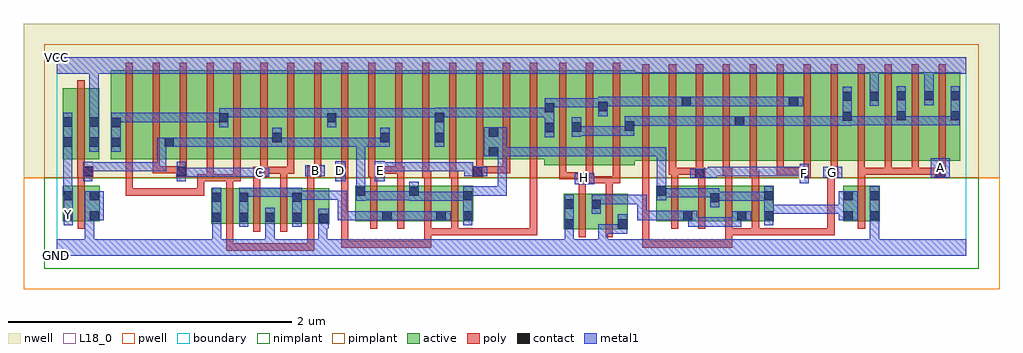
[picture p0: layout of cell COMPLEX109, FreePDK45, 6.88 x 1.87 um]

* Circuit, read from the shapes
.subckt COMPLEX109 A B C D E F G GND H VCC Y
M1 GND n1 Y VSUBS nfet w=0.25u l=0.05u
M2 n2 B GND VSUBS nfet w=0.25u l=0.05u m=2
M3 GND C n2 VSUBS nfet w=0.25u l=0.05u m=2
M4 n2 E n1 VSUBS nfet w=0.25u l=0.05u m=2
M5 n2 D n1 VSUBS nfet w=0.25u l=0.05u m=2
M6 n3 H GND VSUBS nfet w=0.25u l=0.05u m=2
M7 n3 F n1 VSUBS nfet w=0.25u l=0.05u m=2
M8 n3 G n1 VSUBS nfet w=0.25u l=0.05u m=2
M9 GND A n1 VSUBS nfet w=0.25u l=0.05u
M10 VCC n1 Y n4 pfet w=0.5u l=0.05u
M11 n5 B n6 n4 pfet w=0.625u l=0.05u
M12 n1 C n5 n4 pfet w=0.625u l=0.05u
M13 n7 C n1 n4 pfet w=0.625u l=0.05u
M14 n6 B n7 n4 pfet w=0.625u l=0.05u
M15 n8 B n6 n4 pfet w=0.625u l=0.05u
M16 n1 C n8 n4 pfet w=0.625u l=0.05u
M17 n9 C n1 n4 pfet w=0.625u l=0.05u
M18 n6 B n9 n4 pfet w=0.625u l=0.05u
M19 n10 D n6 n4 pfet w=0.625u l=0.05u
M20 n1 E n10 n4 pfet w=0.625u l=0.05u
M21 n11 E n1 n4 pfet w=0.625u l=0.05u
M22 n6 D n11 n4 pfet w=0.625u l=0.05u
M23 n12 D n6 n4 pfet w=0.625u l=0.05u
M24 n1 E n12 n4 pfet w=0.625u l=0.05u
M25 n13 E n1 n4 pfet w=0.625u l=0.05u
M26 n6 D n13 n4 pfet w=0.625u l=0.05u
M27 n14 H n6 n4 pfet w=0.667u l=0.05u m=3
M28 n15 G n14 n4 pfet w=0.625u l=0.05u
M29 n6 F n15 n4 pfet w=0.625u l=0.05u
M30 n16 F n6 n4 pfet w=0.625u l=0.05u
M31 n14 G n16 n4 pfet w=0.625u l=0.05u
M32 n17 G n14 n4 pfet w=0.625u l=0.05u
M33 n6 F n17 n4 pfet w=0.625u l=0.05u
M34 n18 F n6 n4 pfet w=0.625u l=0.05u
M35 n14 G n18 n4 pfet w=0.625u l=0.05u
M36 VCC A n14 n4 pfet w=0.625u l=0.05u m=4
.ends

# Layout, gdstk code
import gdstk
lib = gdstk.Library(unit=1e-6, precision=1e-09)
def R(c, l, rs):  # rectangles x0, y0, x1, y1
    for r in rs: c.add(gdstk.rectangle(r[:2], r[2:], *l))
def A(c, l, x, y, w, h, nx, ny, dx, dy):  # array of equal rectangles
    R(c, l, [(x+i*dx, y+j*dy, x+i*dx+w, y+j*dy+h) for i in range(nx) for j in range(ny)])
active = (1, 0)
pwell = (2, 0)
nwell = (3, 0)
nimplant = (4, 0)
pimplant = (5, 0)
poly = (9, 0)
contact = (10, 0)
metal1 = (11, 0)
L18_0 = (18, 0)
boundary = (235, 0)

complex109 = lib.new_cell('COMPLEX109')
A(complex109, active, 2.29, 0.245, 0.265, 0.25, 3, 1, 0.19, 0)
A(complex109, active, 4.41, 0.245, 0.265, 0.25, 3, 1, 0.19, 0)
A(complex109, active, 4.625, 0.67, 0.225, 0.625, 3, 1, 0.38, 0)
A(complex109, active, 5.155, 0.67, 0.075, 0.53, 4, 1, 0.38, 0)
A(complex109, active, 0.755, 0.682, 0.075, 0.388, 3, 1, 0.76, 0)
A(complex109, active, 1.14, 0.682, 0.075, 0.518, 3, 1, 0.76, 0)
R(complex109, active, [(3.575,0.187,3.65,0.437), (3.575,0.187,3.84,0.437), (3.765,0.187,4.025,0.437), (3.95,0.187,4.025,0.437), (3.765,0.215,3.84,0.4), (1.09,0.225,1.165,0.475), (1.09,0.225,1.355,0.475), (1.28,0.225,1.54,0.475), (1.465,0.225,1.73,0.475), (1.465,0.225,1.54,0.467), (1.655,0.225,1.92,0.475), (1.845,0.225,1.92,0.475), (1.28,0.235,1.355,0.475), (1.655,0.235,1.73,0.475), (0.042,0.245,0.117,0.495), (0.042,0.245,0.302,0.495), (0.227,0.245,0.302,0.495), (2.105,0.245,2.18,0.495), (2.105,0.245,2.365,0.495), (2.29,0.245,2.365,0.467), (2.48,0.245,2.555,0.492), (2.67,0.245,2.745,0.387), (2.86,0.245,2.935,0.495), (4.225,0.245,4.3,0.495), (4.225,0.245,4.485,0.495), (4.41,0.245,4.485,0.467), (4.6,0.245,4.675,0.447), (4.79,0.245,4.865,0.387), (4.98,0.245,5.055,0.495), (5.542,0.245,5.617,0.495), (5.542,0.245,5.802,0.495), (5.727,0.245,5.802,0.495), (3.435,0.64,3.7,1.307), (3.625,0.64,3.887,1.307), (3.625,0.64,3.7,1.07), (3.812,0.64,4.075,1.307), (3.812,0.64,3.887,1.2), (4,0.67,4.245,1.295), (4.245,0.67,4.475,1.295), (4.4,0.67,4.625,1.295), (4.775,0.67,5.005,1.295), (4.775,0.67,4.85,1.07), (5.155,0.67,5.385,1.295), (5.535,0.67,5.8,1.295), (5.725,0.67,5.8,1.295), (5.725,0.67,5.99,1.295), (5.915,0.67,6.185,1.295), (6.11,0.67,6.37,1.295), (6.11,0.67,6.185,1.295), (0.04,0.682,0.3,1.182), (0.04,0.682,0.115,1.165), (0.225,0.682,0.3,1.182), (0.38,0.682,0.605,1.307), (0.38,0.682,0.485,1.2), (0.605,0.682,0.83,1.307), (0.755,0.682,0.985,1.307), (0.985,0.682,1.215,1.307), (1.14,0.682,1.365,1.307), (1.365,0.682,1.59,1.307), (1.515,0.682,1.745,1.307), (1.745,0.682,1.975,1.307), (1.9,0.682,2.125,1.307), (2.125,0.682,2.35,1.307), (2.275,0.682,2.505,1.307), (2.505,0.682,2.735,1.307), (2.66,0.682,2.885,1.307), (2.885,0.682,3.115,1.307), (3.04,0.682,3.265,1.307), (3.04,0.682,3.115,1.07), (3.265,0.682,3.51,1.307), (3.435,0.682,3.51,1.2), (4,0.682,4.075,1.07), (4.4,0.682,4.475,1.2)])
R(complex109, pwell, [(-0.235,-0.235,6.645,0.55)])
R(complex109, nwell, [(-0.235,0.55,6.645,1.635)])
R(complex109, nimplant, [(-0.09,-0.09,6.5,0.55)])
R(complex109, pimplant, [(-0.09,0.55,6.5,1.49)])
A(complex109, poly, 1.195, 0.17, 0.05, 0.36, 4, 1, 0.19, 0)
A(complex109, poly, 2.21, 0.19, 0.05, 0.36, 4, 1, 0.19, 0)
A(complex109, poly, 4.33, 0.19, 0.05, 0.36, 4, 1, 0.19, 0)
A(complex109, poly, 5.075, 0.57, 0.05, 0.095, 7, 1, 0.19, 0)
A(complex109, poly, 1.815, 0.582, 0.05, 0.095, 3, 1, 0.19, 0)
A(complex109, poly, 3.54, 0.585, 0.05, 0.777, 3, 1, 0.19, 0)
A(complex109, poly, 4.125, 0.615, 0.05, 0.735, 12, 1, 0.19, 0)
A(complex109, poly, 0.485, 0.627, 0.05, 0.735, 16, 1, 0.19, 0)
R(complex109, poly, [(1.195,0.037,1.245,0.087), (1.195,0.037,1.245,0.087), (1.195,0.037,1.245,0.087), (1.195,0.037,1.245,0.22), (1.195,0.037,1.427,0.087), (1.377,0.037,1.427,0.087), (1.377,0.037,1.427,0.087), (1.377,0.037,1.427,0.087), (1.377,0.037,1.617,0.087), (1.567,0.037,1.617,0.087), (1.567,0.037,1.815,0.087), (1.765,0.037,1.815,0.087), (1.765,0.037,1.815,0.087), (1.765,0.037,1.815,0.087), (1.765,0.037,1.815,0.22), (2.005,0.057,2.055,0.107), (2.005,0.057,2.055,0.107), (2.005,0.057,2.055,0.107), (2.005,0.057,2.055,0.107), (2.005,0.057,2.055,0.107), (2.005,0.057,2.302,0.107), (2.005,0.057,2.055,0.607), (2.252,0.057,2.302,0.107), (2.252,0.057,2.302,0.107), (2.252,0.057,2.302,0.107), (2.252,0.057,2.442,0.107), (2.392,0.057,2.442,0.107), (2.392,0.057,2.442,0.107), (2.392,0.057,2.442,0.107), (2.392,0.057,2.64,0.107), (2.59,0.057,2.64,0.195), (4.125,0.057,4.175,0.107), (4.125,0.057,4.175,0.107), (4.125,0.057,4.175,0.107), (4.125,0.057,4.175,0.107), (4.125,0.057,4.175,0.107), (4.125,0.057,4.175,0.107), (4.125,0.057,4.175,0.107), (4.125,0.057,4.175,0.107), (4.125,0.057,4.175,0.107), (4.125,0.057,4.397,0.107), (4.125,0.057,4.175,0.665), (4.347,0.057,4.397,0.107), (4.347,0.057,4.53,0.107), (4.48,0.057,4.53,0.107), (4.48,0.057,4.53,0.107), (4.48,0.057,4.53,0.107), (4.48,0.057,4.76,0.107), (4.71,0.057,4.76,0.107), (4.71,0.057,4.76,0.107), (4.71,0.057,4.76,0.195), (3.68,0.132,3.73,0.492), (3.87,0.132,3.92,0.492), (2.59,0.145,2.64,0.24), (2.59,0.145,2.64,0.195), (2.59,0.145,2.64,0.195), (2.59,0.145,2.83,0.195), (2.78,0.145,2.83,0.24), (2.78,0.145,2.83,0.195), (2.78,0.145,2.83,0.195), (2.78,0.145,2.83,0.195), (2.78,0.145,2.962,0.195), (2.912,0.145,2.962,0.195), (2.912,0.145,2.962,0.195), (2.912,0.145,2.962,0.195), (2.912,0.145,3.137,0.195), (3.087,0.145,3.137,0.195), (3.087,0.145,3.385,0.195), (3.335,0.145,3.385,0.195), (3.335,0.145,3.385,0.195), (3.335,0.145,3.385,0.195), (3.335,0.145,3.385,0.195), (3.335,0.145,3.385,0.195), (3.335,0.145,3.385,0.195), (3.335,0.145,3.385,0.195), (3.335,0.145,3.385,0.195), (3.335,0.145,3.385,0.195), (3.335,0.145,3.385,0.677), (4.71,0.145,4.76,0.24), (4.71,0.145,4.95,0.195), (4.9,0.145,4.95,0.24), (4.9,0.145,4.95,0.195), (4.9,0.145,4.95,0.195), (4.9,0.145,4.95,0.195), (4.9,0.145,5.082,0.195), (5.032,0.145,5.082,0.195), (5.032,0.145,5.082,0.195), (5.032,0.145,5.082,0.195), (5.032,0.145,5.257,0.195), (5.207,0.145,5.257,0.195), (5.207,0.145,5.257,0.195), (5.207,0.145,5.257,0.195), (5.207,0.145,5.257,0.195), (5.207,0.145,5.257,0.195), (5.207,0.145,5.482,0.195), (5.432,0.145,5.482,0.195), (5.432,0.145,5.482,0.195), (5.432,0.145,5.482,0.195), (5.432,0.145,5.482,0.595), (0.147,0.19,0.197,0.55), (5.647,0.19,5.697,0.55), (0.485,0.425,0.535,0.475), (0.485,0.425,0.535,0.475), (0.485,0.425,0.535,0.475), (0.485,0.425,0.535,0.475), (0.485,0.425,0.535,0.475), (0.485,0.425,0.535,0.475), (0.485,0.425,0.535,0.475), (0.485,0.425,0.757,0.475), (0.485,0.425,0.535,0.677), (0.707,0.425,0.757,0.475), (0.707,0.425,0.757,0.475), (0.707,0.425,0.757,0.475), (0.707,0.425,0.907,0.475), (0.857,0.425,0.907,0.475), (0.857,0.425,0.907,0.475), (0.857,0.425,0.907,0.475), (0.857,0.425,1.04,0.475), (0.99,0.425,1.04,0.475), (0.99,0.425,1.04,0.475), (0.99,0.425,1.04,0.475), (0.99,0.425,1.04,0.575), (3.68,0.442,3.73,0.562), (3.87,0.442,3.92,0.562), (1.195,0.48,1.245,0.575), (1.385,0.48,1.435,0.602), (1.575,0.48,1.625,0.627), (1.765,0.48,1.815,0.607), (0.147,0.5,0.197,0.607), (2.21,0.5,2.26,0.607), (2.4,0.5,2.45,0.63), (2.59,0.5,2.64,0.595), (2.78,0.5,2.83,0.595), (4.33,0.5,4.38,0.62), (4.52,0.5,4.57,0.595), (4.71,0.5,4.76,0.617), (4.9,0.5,4.95,0.595), (5.647,0.5,5.697,0.62), (3.68,0.512,3.78,0.59), (3.73,0.512,3.92,0.562), (3.87,0.512,3.92,0.562), (3.87,0.512,3.92,0.562), (3.87,0.512,3.97,0.562), (3.92,0.512,3.97,0.635), (0.99,0.525,1.105,0.575), (1.055,0.525,1.105,0.575), (1.055,0.525,1.105,0.575), (1.055,0.525,1.245,0.575), (1.055,0.525,1.105,0.677), (1.195,0.525,1.295,0.575), (1.245,0.525,1.295,0.677), (3.54,0.54,3.59,0.635), (3.54,0.54,3.59,0.59), (3.54,0.54,3.73,0.59), (3.68,0.54,3.73,0.59), (3.68,0.54,3.73,0.59), (3.73,0.54,3.78,0.635), (2.575,0.545,2.64,0.595), (2.575,0.545,2.625,0.677), (2.765,0.545,2.83,0.595), (2.765,0.545,2.815,0.677), (4.495,0.545,4.57,0.62), (4.885,0.545,4.935,0.665), (4.885,0.545,4.95,0.595), (5.232,0.545,5.315,0.62), (5.432,0.545,5.482,0.595), (5.432,0.545,5.482,0.595), (5.432,0.545,5.507,0.62), (6.19,0.545,6.265,0.62), (1.385,0.552,1.485,0.627), (0.145,0.557,0.255,0.632), (0.84,0.557,0.915,0.632), (1.765,0.557,1.865,0.632), (1.967,0.557,2.055,0.632), (2.005,0.557,2.055,0.607), (2.005,0.557,2.055,0.607), (2.195,0.557,2.31,0.632), (2.93,0.557,3.005,0.632), (4.695,0.567,4.76,0.617), (4.695,0.567,4.745,0.665), (4.315,0.57,4.365,0.665), (4.315,0.57,4.38,0.62), (4.33,0.57,4.38,0.62), (4.33,0.57,4.38,0.62), (4.33,0.57,4.545,0.62), (4.505,0.57,4.555,0.665), (5.075,0.57,5.125,0.62), (5.075,0.57,5.282,0.62), (5.232,0.57,5.282,0.62), (5.232,0.57,5.282,0.62), (5.645,0.57,5.697,0.62), (5.647,0.57,5.697,0.62), (5.647,0.57,5.697,0.62), (5.647,0.57,5.885,0.62), (5.835,0.57,5.885,0.62), (5.835,0.57,6.075,0.62), (6.025,0.57,6.075,0.62), (6.025,0.57,6.075,0.62), (6.025,0.57,6.075,0.62), (6.025,0.57,6.24,0.62), (6.19,0.57,6.24,0.62), (6.19,0.57,6.24,0.62), (1.435,0.577,1.625,0.627), (1.435,0.577,1.485,0.677), (1.575,0.577,1.625,0.627), (1.575,0.577,1.625,0.627), (1.575,0.577,1.675,0.627), (1.625,0.577,1.675,0.677), (2.26,0.58,2.31,0.63), (2.26,0.58,2.31,0.63), (2.26,0.58,2.435,0.63), (2.385,0.58,2.45,0.63), (2.385,0.58,2.435,0.677), (0.145,0.582,0.195,0.677), (0.675,0.582,0.725,0.677), (0.675,0.582,0.725,0.632), (0.675,0.582,0.725,0.632), (0.675,0.582,0.725,0.632), (0.675,0.582,0.89,0.632), (0.865,0.582,0.915,0.677), (2.955,0.582,3.005,0.677), (2.955,0.582,3.195,0.632), (3.145,0.582,3.195,0.677), (3.145,0.582,3.195,0.632), (3.145,0.582,3.195,0.632), (3.145,0.582,3.195,0.632), (0.145,0.627,0.195,1.237)])
R(complex109, contact, [(3.58,0.192,3.645,0.257), (3.955,0.192,4.02,0.257), (1.85,0.23,1.915,0.295), (1.095,0.24,1.16,0.305), (1.285,0.24,1.35,0.305), (1.47,0.24,1.535,0.305), (1.66,0.24,1.725,0.305), (0.047,0.25,0.112,0.315), (0.232,0.25,0.297,0.315), (2.295,0.25,2.36,0.315), (2.675,0.25,2.74,0.315), (2.865,0.25,2.93,0.315), (4.795,0.25,4.86,0.315), (4.985,0.25,5.05,0.315), (5.547,0.25,5.612,0.315), (5.732,0.25,5.797,0.315), (4.415,0.252,4.48,0.317), (3.77,0.33,3.835,0.395), (3.58,0.332,3.645,0.397), (4.605,0.377,4.67,0.442), (1.095,0.38,1.16,0.445), (1.285,0.38,1.35,0.445), (1.66,0.38,1.725,0.445), (0.047,0.39,0.112,0.455), (0.232,0.39,0.297,0.455), (2.865,0.39,2.93,0.455), (4.985,0.39,5.05,0.455), (5.547,0.39,5.612,0.455), (5.732,0.39,5.797,0.455), (2.11,0.422,2.175,0.487), (2.485,0.422,2.55,0.487), (4.23,0.425,4.295,0.49), (3.687,0.517,3.752,0.582), (4.5,0.55,4.565,0.615), (5.237,0.55,5.302,0.615), (5.437,0.55,5.502,0.615), (6.195,0.55,6.26,0.615), (1.397,0.557,1.462,0.622), (0.185,0.562,0.25,0.627), (0.845,0.562,0.91,0.627), (1.787,0.562,1.852,0.627), (1.972,0.562,2.037,0.627), (2.24,0.562,2.305,0.627), (2.935,0.562,3,0.627), (3.045,0.7,3.11,0.765), (0.385,0.767,0.45,0.832), (0.76,0.767,0.825,0.832), (0.045,0.77,0.11,0.835), (0.23,0.77,0.295,0.835), (1.52,0.802,1.585,0.867), (2.28,0.802,2.345,0.867), (2.665,0.802,2.73,0.867), (3.045,0.84,3.11,0.905), (3.44,0.872,3.505,0.937), (3.63,0.875,3.695,0.94), (4.005,0.882,4.07,0.947), (0.385,0.907,0.45,0.972), (0.045,0.91,0.11,0.975), (0.23,0.91,0.295,0.975), (4.78,0.917,4.845,0.982), (1.145,0.94,1.21,1.005), (1.905,0.94,1.97,1.005), (2.665,0.942,2.73,1.007), (5.54,0.952,5.605,1.017), (5.92,0.955,5.985,1.02), (6.3,0.955,6.365,1.02), (3.44,1.012,3.505,1.077), (3.817,1.02,3.882,1.085), (4.405,1.055,4.47,1.12), (5.16,1.055,5.225,1.12), (5.54,1.092,5.605,1.157), (5.73,1.092,5.795,1.157), (5.92,1.095,5.985,1.16), (6.115,1.095,6.18,1.16), (6.3,1.095,6.365,1.16)])
R(complex109, metal1, [(0,0,6.41,0.115), (0.197,0.05,0.262,0.115), (0.197,0.05,0.262,0.115), (0.197,0.05,0.262,0.115), (0.197,0.05,0.262,0.115), (0.197,0.05,0.262,0.315), (1.095,0.05,1.16,0.115), (1.095,0.05,1.16,0.115), (1.095,0.05,1.16,0.115), (1.095,0.05,1.16,0.115), (1.095,0.05,1.16,0.27), (1.47,0.05,1.535,0.115), (1.47,0.05,1.535,0.115), (1.47,0.05,1.535,0.27), (1.842,0.05,1.907,0.115), (1.842,0.05,1.907,0.115), (1.842,0.05,1.907,0.26), (3.58,0.05,3.645,0.115), (3.58,0.05,3.645,0.115), (3.58,0.05,3.645,0.115), (3.58,0.05,3.645,0.115), (3.58,0.05,3.645,0.222), (3.817,0.05,3.882,0.222), (5.732,0.05,5.797,0.115), (5.732,0.05,5.797,0.115), (5.732,0.05,5.797,0.115), (5.732,0.05,5.797,0.115), (5.732,0.05,5.797,0.28), (3.58,0.157,3.645,0.432), (3.817,0.157,3.882,0.222), (3.817,0.157,3.882,0.222), (3.817,0.157,3.882,0.222), (3.817,0.157,3.882,0.222), (3.817,0.157,3.882,0.222), (3.817,0.157,4.02,0.222), (3.955,0.157,4.02,0.222), (3.955,0.157,4.02,0.222), (3.955,0.157,4.02,0.292), (1.842,0.195,1.907,0.26), (1.842,0.195,1.907,0.26), (1.842,0.195,1.915,0.33), (1.095,0.205,1.16,0.48), (1.285,0.205,1.35,0.48), (1.47,0.205,1.535,0.27), (1.47,0.205,1.535,0.27), (1.47,0.205,1.535,0.34), (1.66,0.205,1.725,0.48), (4.45,0.205,4.67,0.27), (4.45,0.205,4.515,0.317), (4.605,0.205,4.67,0.27), (4.605,0.205,4.825,0.27), (4.76,0.205,4.825,0.315), (0.047,0.215,0.112,0.49), (2.865,0.215,2.93,0.49), (4.985,0.215,5.05,0.49), (5.732,0.215,5.797,0.49), (0.197,0.25,0.332,0.455), (1.98,0.25,2.045,0.315), (1.98,0.25,2.175,0.315), (1.98,0.25,2.045,0.46), (2.11,0.25,2.175,0.315), (2.11,0.25,2.325,0.315), (2.26,0.25,2.325,0.315), (2.26,0.25,2.325,0.315), (2.26,0.25,2.395,0.315), (2.33,0.25,2.532,0.315), (2.467,0.25,2.532,0.315), (2.467,0.25,2.532,0.315), (2.467,0.25,2.532,0.315), (2.467,0.25,2.687,0.315), (2.622,0.25,2.687,0.315), (2.622,0.25,2.705,0.315), (2.64,0.25,2.775,0.315), (4.76,0.25,4.825,0.315), (4.76,0.25,4.895,0.315), (5.512,0.25,5.647,0.455), (4.092,0.252,4.157,0.317), (4.092,0.252,4.297,0.317), (4.092,0.252,4.157,0.43), (4.232,0.252,4.297,0.317), (4.232,0.252,4.297,0.317), (4.232,0.252,4.297,0.317), (4.232,0.252,4.445,0.317), (4.38,0.252,4.515,0.317), (4.45,0.252,4.515,0.317), (3.77,0.295,3.835,0.43), (4.985,0.295,5.165,0.36), (5.1,0.295,5.165,0.36), (5.1,0.295,5.187,0.36), (5.122,0.295,5.187,0.36), (5.122,0.295,5.302,0.36), (5.237,0.295,5.302,0.36), (5.237,0.295,5.44,0.36), (5.375,0.295,5.44,0.36), (5.375,0.295,5.44,0.36), (5.375,0.295,5.44,0.36), (5.375,0.295,5.577,0.36), (4.605,0.342,4.67,0.477), (3.77,0.365,3.835,0.43), (3.77,0.365,3.835,0.43), (3.77,0.365,4.157,0.43), (4.092,0.365,4.157,0.43), (4.092,0.365,4.157,0.43), (4.092,0.365,4.157,0.43), (2.11,0.387,2.175,0.522), (2.485,0.387,2.55,0.522), (2.485,0.387,2.687,0.452), (2.622,0.387,2.687,0.452), (2.622,0.387,2.687,0.452), (2.622,0.387,2.687,0.452), (2.622,0.387,2.825,0.452), (2.76,0.387,2.825,0.452), (2.76,0.387,2.93,0.452), (4.605,0.387,4.807,0.452), (4.742,0.387,4.807,0.452), (4.742,0.387,4.807,0.452), (4.742,0.387,4.807,0.452), (4.742,0.387,5.027,0.452), (4.962,0.387,5.027,0.452), (4.962,0.387,5.05,0.452), (2.11,0.39,2.395,0.455), (2.33,0.39,2.395,0.455), (2.33,0.39,2.395,0.455), (2.33,0.39,2.395,0.455), (2.33,0.39,2.55,0.455), (2.485,0.39,2.55,0.455), (2.485,0.39,2.55,0.455), (4.23,0.39,4.295,0.525), (1.66,0.395,1.725,0.46), (1.66,0.395,1.725,0.46), (1.66,0.395,2.03,0.46), (1.965,0.395,2.03,0.46), (1.965,0.395,2.045,0.46), (1.98,0.395,2.045,0.46), (4.23,0.412,4.367,0.477), (4.302,0.412,4.367,0.477), (4.302,0.412,4.435,0.477), (4.37,0.412,4.435,0.477), (4.37,0.412,4.67,0.477), (4.605,0.412,4.67,0.477), (4.605,0.412,4.67,0.477), (1.285,0.415,1.35,0.48), (1.285,0.415,1.35,0.48), (1.285,0.415,1.562,0.48), (1.497,0.415,1.562,0.48), (1.497,0.415,1.562,0.48), (1.497,0.415,1.562,0.48), (1.497,0.415,1.725,0.48), (0.045,0.425,0.11,0.8), (0.045,0.425,0.112,0.49), (0.047,0.425,0.112,0.49), (2.865,0.425,3.092,0.49), (3.027,0.425,3.092,0.49), (3.027,0.425,3.172,0.49), (3.107,0.425,3.172,0.49), (3.107,0.425,3.172,0.765), (2.11,0.457,2.175,0.832), (4.23,0.46,4.295,0.765), (3.652,0.505,3.787,0.582), (5.237,0.512,5.302,0.65), (0.185,0.527,0.25,0.662), (0.845,0.527,0.91,0.662), (1.962,0.527,2.037,0.667), (2.24,0.527,2.312,0.667), (4.465,0.55,4.6,0.615), (4.535,0.55,4.652,0.615), (4.587,0.55,4.652,0.627), (5.402,0.55,5.537,0.627), (6.16,0.55,6.295,0.687), (0.845,0.557,1.022,0.622), (0.957,0.557,1.022,0.622), (0.957,0.557,1.047,0.622), (0.982,0.557,1.047,0.622), (0.982,0.557,1.197,0.622), (1.132,0.557,1.197,0.622), (1.132,0.557,1.197,0.622), (1.132,0.557,1.197,0.622), (1.132,0.557,1.397,0.622), (1.332,0.557,1.397,0.622), (1.332,0.557,1.427,0.622), (1.362,0.557,1.497,0.622), (1.752,0.56,1.887,0.637), (2.872,0.562,2.965,0.627), (2.872,0.562,2.937,0.66), (2.9,0.562,3.035,0.627), (4.587,0.562,4.807,0.627), (4.742,0.562,4.807,0.627), (4.742,0.562,4.807,0.627), (4.742,0.562,4.807,0.627), (4.742,0.562,5.027,0.627), (4.962,0.562,5.027,0.627), (4.962,0.562,5.027,0.627), (4.962,0.562,5.027,0.627), (4.962,0.562,5.165,0.627), (5.1,0.562,5.165,0.627), (5.1,0.562,5.302,0.627), (5.237,0.562,5.302,0.627), (5.237,0.562,5.302,0.627), (0.185,0.595,0.25,0.66), (0.185,0.595,0.25,0.66), (0.185,0.595,0.47,0.66), (0.405,0.595,0.47,0.66), (0.405,0.595,0.47,0.66), (0.405,0.595,0.47,0.66), (0.405,0.595,0.635,0.66), (0.57,0.595,0.635,0.66), (0.57,0.595,0.635,0.66), (0.57,0.595,0.635,0.66), (0.57,0.595,0.772,0.66), (0.707,0.595,0.772,0.66), (0.707,0.595,0.772,0.832), (2.247,0.595,2.312,0.66), (2.247,0.595,2.312,0.66), (2.247,0.595,2.532,0.66), (2.467,0.595,2.532,0.66), (2.467,0.595,2.532,0.66), (2.467,0.595,2.532,0.66), (2.467,0.595,2.687,0.66), (2.622,0.595,2.687,0.66), (2.622,0.595,2.687,0.66), (2.622,0.595,2.687,0.66), (2.622,0.595,2.825,0.66), (2.76,0.595,2.825,0.66), (2.76,0.595,2.937,0.66), (3.01,0.7,3.172,0.905), (3.107,0.7,3.172,0.765), (3.107,0.7,3.172,0.765), (3.107,0.7,3.23,0.765), (3.165,0.7,3.23,0.765), (3.165,0.7,3.367,0.765), (3.302,0.7,3.367,0.765), (3.302,0.7,3.367,0.765), (3.302,0.7,3.367,0.765), (3.302,0.7,3.505,0.765), (3.44,0.7,3.505,0.765), (3.44,0.7,3.505,0.765), (3.44,0.7,3.505,0.765), (3.44,0.7,3.697,0.765), (3.632,0.7,3.697,0.765), (3.632,0.7,3.697,0.765), (3.632,0.7,3.697,0.765), (3.632,0.7,3.882,0.765), (3.817,0.7,3.882,0.765), (3.817,0.7,3.882,0.765), (3.817,0.7,3.882,0.765), (3.817,0.7,4.157,0.765), (4.092,0.7,4.157,0.765), (4.092,0.7,4.157,0.765), (4.092,0.7,4.157,0.765), (4.092,0.7,4.295,0.765), (4.23,0.7,4.295,0.765), (4.23,0.7,4.295,0.765), (4.23,0.7,4.295,0.765), (0.385,0.732,0.45,1.007), (0.045,0.735,0.11,0.8), (0.045,0.735,0.11,0.8), (0.045,0.735,0.11,1.01), (0.23,0.735,0.295,1.01), (0.707,0.767,0.86,0.832), (0.795,0.767,0.86,0.832), (0.795,0.767,0.86,0.832), (0.795,0.767,0.86,0.832), (0.795,0.767,0.86,0.832), (0.795,0.767,0.997,0.832), (0.932,0.767,0.997,0.832), (0.932,0.767,1.047,0.832), (0.982,0.767,1.047,0.832), (0.982,0.767,1.212,0.832), (1.147,0.767,1.212,0.832), (1.147,0.767,1.212,0.832), (1.147,0.767,1.212,0.832), (1.147,0.767,1.35,0.832), (1.285,0.767,1.35,0.832), (1.285,0.767,1.35,0.832), (1.285,0.767,1.35,0.832), (1.285,0.767,1.585,0.832), (1.52,0.767,1.585,0.832), (1.52,0.767,1.585,0.832), (1.52,0.767,1.585,0.902), (1.52,0.767,1.722,0.832), (1.657,0.767,1.722,0.832), (1.657,0.767,1.722,0.832), (1.657,0.767,1.722,0.832), (1.657,0.767,2.03,0.832), (1.965,0.767,2.03,0.832), (1.965,0.767,2.03,0.832), (1.965,0.767,2.03,0.832), (1.965,0.767,2.175,0.832), (2.11,0.767,2.175,0.832), (2.11,0.767,2.175,0.832), (2.11,0.767,2.175,0.832), (2.11,0.767,2.175,0.832), (2.11,0.767,2.175,0.832), (2.11,0.767,2.345,0.832), (2.28,0.767,2.345,0.832), (2.28,0.767,2.345,0.832), (2.28,0.767,2.345,0.902), (2.665,0.767,2.73,1.042), (3.44,0.837,3.505,1.112), (3.63,0.84,3.695,0.975), (3.63,0.847,3.695,0.912), (3.63,0.847,3.695,0.912), (3.63,0.847,3.882,0.912), (3.817,0.847,3.882,0.912), (3.817,0.847,3.882,0.912), (3.817,0.847,3.882,0.912), (3.817,0.847,4.07,0.912), (4.005,0.847,4.07,0.982), (1.145,0.905,1.21,1.04), (1.905,0.905,1.97,1.04), (4.005,0.917,4.16,0.982), (4.095,0.917,4.16,0.982), (4.095,0.917,4.297,0.982), (4.232,0.917,4.297,0.982), (4.232,0.917,4.297,0.982), (4.232,0.917,4.297,0.982), (4.232,0.917,4.505,0.982), (4.44,0.917,4.505,0.982), (4.44,0.917,4.505,0.982), (4.44,0.917,4.505,0.982), (4.44,0.917,4.652,0.982), (4.587,0.917,4.652,0.982), (4.587,0.917,4.81,0.982), (4.745,0.917,4.81,0.982), (4.745,0.917,4.81,0.982), (4.745,0.917,4.88,0.982), (4.815,0.917,5.017,0.982), (4.952,0.917,5.017,0.982), (4.952,0.917,5.017,0.982), (4.952,0.917,5.017,0.982), (4.952,0.917,5.165,0.982), (5.1,0.917,5.165,0.982), (5.1,0.917,5.302,0.982), (5.237,0.917,5.302,0.982), (5.237,0.917,5.302,0.982), (5.237,0.917,5.302,0.982), (5.237,0.917,5.44,0.982), (5.375,0.917,5.44,0.982), (5.375,0.917,5.44,0.982), (5.375,0.917,5.44,0.982), (5.375,0.917,5.605,0.982), (5.54,0.917,5.605,1.192), (5.54,0.92,5.605,0.985), (5.54,0.92,5.605,0.985), (5.54,0.92,5.847,0.985), (5.782,0.92,5.847,0.985), (5.782,0.92,5.847,0.985), (5.782,0.92,5.847,0.985), (5.782,0.92,5.985,0.985), (5.92,0.92,5.985,0.985), (5.92,0.92,5.985,0.985), (5.92,0.92,5.985,1.195), (5.92,0.92,6.122,0.985), (6.057,0.92,6.122,0.985), (6.057,0.92,6.365,0.985), (6.3,0.92,6.365,0.985), (6.3,0.92,6.365,0.985), (6.3,0.92,6.365,1.195), (0.385,0.942,0.45,1.007), (0.385,0.942,0.45,1.007), (0.385,0.942,0.607,1.007), (0.542,0.942,0.607,1.007), (0.542,0.942,0.607,1.007), (0.542,0.942,0.607,1.007), (0.542,0.942,0.772,1.007), (0.707,0.942,0.772,1.007), (0.707,0.942,0.772,1.007), (0.707,0.942,0.772,1.007), (0.707,0.942,0.997,1.007), (0.932,0.942,0.997,1.007), (0.932,0.942,1.06,1.007), (0.995,0.942,1.06,1.007), (0.995,0.942,1.21,1.007), (0.23,0.945,0.295,1.35), (1.145,0.975,1.21,1.04), (1.145,0.975,1.21,1.04), (1.145,0.975,1.35,1.04), (1.285,0.975,1.35,1.04), (1.285,0.975,1.35,1.04), (1.285,0.975,1.35,1.04), (1.285,0.975,1.535,1.04), (1.47,0.975,1.535,1.04), (1.47,0.975,1.535,1.04), (1.47,0.975,1.535,1.04), (1.47,0.975,1.722,1.04), (1.657,0.975,1.722,1.04), (1.657,0.975,1.722,1.04), (1.657,0.975,1.722,1.04), (1.657,0.975,1.97,1.04), (1.905,0.975,2.167,1.04), (2.102,0.975,2.167,1.04), (2.102,0.975,2.167,1.04), (2.102,0.975,2.167,1.04), (2.102,0.975,2.312,1.04), (2.247,0.975,2.312,1.04), (2.247,0.975,2.312,1.04), (2.247,0.975,2.312,1.04), (2.247,0.975,2.532,1.04), (2.467,0.975,2.532,1.04), (2.467,0.975,2.532,1.04), (2.467,0.975,2.532,1.04), (2.467,0.975,2.687,1.04), (2.622,0.975,2.687,1.04), (2.622,0.975,2.73,1.04), (2.665,0.977,2.825,1.042), (2.76,0.977,2.825,1.042), (2.76,0.977,2.937,1.042), (2.872,0.977,2.937,1.042), (2.872,0.977,3.092,1.042), (3.027,0.977,3.092,1.042), (3.027,0.977,3.092,1.042), (3.027,0.977,3.092,1.042), (3.027,0.977,3.23,1.042), (3.165,0.977,3.23,1.042), (3.165,0.977,3.367,1.042), (3.302,0.977,3.367,1.042), (3.302,0.977,3.367,1.042), (3.302,0.977,3.367,1.042), (3.302,0.977,3.505,1.042), (3.817,0.985,3.882,1.12), (3.44,1.047,3.505,1.112), (3.44,1.047,3.505,1.112), (3.44,1.047,3.697,1.112), (3.632,1.047,3.697,1.112), (3.632,1.047,3.697,1.112), (3.632,1.047,3.697,1.112), (3.632,1.047,3.882,1.112), (3.817,1.055,3.882,1.12), (3.817,1.055,3.882,1.12), (3.817,1.055,4.157,1.12), (4.092,1.055,4.157,1.12), (4.092,1.055,4.157,1.12), (4.092,1.055,4.157,1.12), (4.092,1.055,4.297,1.12), (4.232,1.055,4.297,1.12), (4.232,1.055,4.297,1.12), (4.232,1.055,4.297,1.12), (4.232,1.055,4.435,1.12), (4.37,1.055,4.505,1.12), (4.44,1.055,4.505,1.12), (4.44,1.055,4.505,1.12), (4.44,1.055,4.67,1.12), (4.605,1.055,4.67,1.12), (4.605,1.055,4.807,1.12), (4.742,1.055,4.807,1.12), (4.742,1.055,4.807,1.12), (4.742,1.055,4.807,1.12), (4.742,1.055,5.027,1.12), (4.962,1.055,5.027,1.12), (4.962,1.055,5.027,1.12), (4.962,1.055,5.027,1.12), (4.962,1.055,5.165,1.12), (5.1,1.055,5.165,1.12), (5.1,1.055,5.19,1.12), (5.125,1.055,5.26,1.12), (5.73,1.057,5.795,1.192), (6.115,1.06,6.18,1.195), (5.73,1.127,5.795,1.35), (6.115,1.13,6.18,1.35), (0,1.285,6.41,1.4), (0.23,1.285,0.295,1.35), (0.23,1.285,0.295,1.35)])
R(complex109, L18_0, [(0,0,6.41,0.115), (0.197,0.05,0.262,0.115), (0.197,0.05,0.262,0.115), (0.197,0.05,0.262,0.115), (0.197,0.05,0.262,0.115), (0.197,0.05,0.262,0.315), (1.095,0.05,1.16,0.115), (1.095,0.05,1.16,0.115), (1.095,0.05,1.16,0.115), (1.095,0.05,1.16,0.115), (1.095,0.05,1.16,0.27), (1.47,0.05,1.535,0.115), (1.47,0.05,1.535,0.115), (1.47,0.05,1.535,0.27), (1.842,0.05,1.907,0.115), (1.842,0.05,1.907,0.115), (1.842,0.05,1.907,0.26), (3.58,0.05,3.645,0.115), (3.58,0.05,3.645,0.115), (3.58,0.05,3.645,0.115), (3.58,0.05,3.645,0.115), (3.58,0.05,3.645,0.222), (3.817,0.05,3.882,0.222), (5.732,0.05,5.797,0.115), (5.732,0.05,5.797,0.115), (5.732,0.05,5.797,0.115), (5.732,0.05,5.797,0.115), (5.732,0.05,5.797,0.28), (3.58,0.157,3.645,0.432), (3.817,0.157,3.882,0.222), (3.817,0.157,3.882,0.222), (3.817,0.157,3.882,0.222), (3.817,0.157,3.882,0.222), (3.817,0.157,3.882,0.222), (3.817,0.157,4.02,0.222), (3.955,0.157,4.02,0.222), (3.955,0.157,4.02,0.222), (3.955,0.157,4.02,0.292), (1.842,0.195,1.907,0.26), (1.842,0.195,1.907,0.26), (1.842,0.195,1.915,0.33), (1.095,0.205,1.16,0.48), (1.47,0.205,1.535,0.27), (1.47,0.205,1.535,0.27), (1.47,0.205,1.535,0.34), (0.047,0.215,0.112,0.49), (5.732,0.215,5.797,0.49), (0.197,0.25,0.332,0.455), (0.047,0.257,0.112,0.322), (0.045,0.425,0.112,0.49), (0.045,0.425,0.11,0.8), (0.047,0.425,0.112,0.49), (3.652,0.505,3.787,0.582), (5.237,0.512,5.302,0.65), (3.687,0.517,3.752,0.582), (0.845,0.527,0.91,0.662), (1.962,0.527,2.037,0.667), (2.24,0.527,2.312,0.667), (5.237,0.547,5.302,0.612), (4.465,0.55,4.6,0.615), (4.535,0.55,4.652,0.615), (4.587,0.55,4.652,0.627), (5.402,0.55,5.537,0.627), (6.16,0.55,6.295,0.687), (0.845,0.557,1.022,0.622), (0.957,0.557,1.022,0.622), (0.957,0.557,1.047,0.622), (0.982,0.557,1.047,0.622), (0.982,0.557,1.197,0.622), (1.132,0.557,1.197,0.622), (1.132,0.557,1.197,0.622), (1.132,0.557,1.197,0.622), (1.132,0.557,1.397,0.622), (1.332,0.557,1.397,0.622), (1.332,0.557,1.427,0.622), (1.362,0.557,1.497,0.622), (1.397,0.557,1.462,0.622), (5.437,0.557,5.502,0.622), (1.752,0.56,1.887,0.637), (2.872,0.562,2.937,0.66), (2.872,0.562,2.965,0.627), (2.9,0.562,3.035,0.627), (4.587,0.562,4.807,0.627), (4.742,0.562,4.807,0.627), (4.742,0.562,4.807,0.627), (4.742,0.562,4.807,0.627), (4.742,0.562,5.027,0.627), (4.962,0.562,5.027,0.627), (4.962,0.562,5.027,0.627), (4.962,0.562,5.027,0.627), (4.962,0.562,5.165,0.627), (5.1,0.562,5.165,0.627), (5.1,0.562,5.302,0.627), (5.237,0.562,5.302,0.627), (5.237,0.562,5.302,0.627), (1.787,0.567,1.852,0.632), (1.967,0.567,2.032,0.632), (2.247,0.567,2.312,0.632), (6.197,0.587,6.262,0.652), (2.247,0.595,2.312,0.66), (2.247,0.595,2.312,0.66), (2.247,0.595,2.532,0.66), (2.467,0.595,2.532,0.66), (2.467,0.595,2.532,0.66), (2.467,0.595,2.532,0.66), (2.467,0.595,2.687,0.66), (2.622,0.595,2.687,0.66), (2.622,0.595,2.687,0.66), (2.622,0.595,2.687,0.66), (2.622,0.595,2.825,0.66), (2.76,0.595,2.825,0.66), (2.76,0.595,2.937,0.66), (0.045,0.735,0.11,1.01), (0.045,0.735,0.11,0.8), (0.045,0.735,0.11,0.8), (0.23,0.735,0.295,1.01), (0.23,0.945,0.295,1.35), (5.73,1.057,5.795,1.192), (6.115,1.06,6.18,1.195), (5.73,1.127,5.795,1.35), (6.115,1.13,6.18,1.35), (0,1.285,6.41,1.4), (0.23,1.285,0.295,1.35), (0.23,1.285,0.295,1.35)])
R(complex109, boundary, [(0,0,6.41,1.4)])
complex109.add(gdstk.Label('A', (6.23,0.62), layer=11, texttype=0))
complex109.add(gdstk.Label('B', (1.82,0.6), layer=11, texttype=0))
complex109.add(gdstk.Label('C', (1.43,0.59), layer=11, texttype=0))
complex109.add(gdstk.Label('D', (2,0.6), layer=11, texttype=0))
complex109.add(gdstk.Label('E', (2.28,0.6), layer=11, texttype=0))
complex109.add(gdstk.Label('F', (5.27,0.58), layer=11, texttype=0))
complex109.add(gdstk.Label('G', (5.47,0.59), layer=11, texttype=0))
complex109.add(gdstk.Label('H', (3.72,0.55), layer=11, texttype=0))
complex109.add(gdstk.Label('Y', (0.08,0.29), layer=11, texttype=0))
complex109.add(gdstk.Label('VCC', (0,1.4), layer=11, texttype=0))
complex109.add(gdstk.Label('GND', (0,0), layer=11, texttype=0))

lib.write_gds('COMPLEX109.gds')
